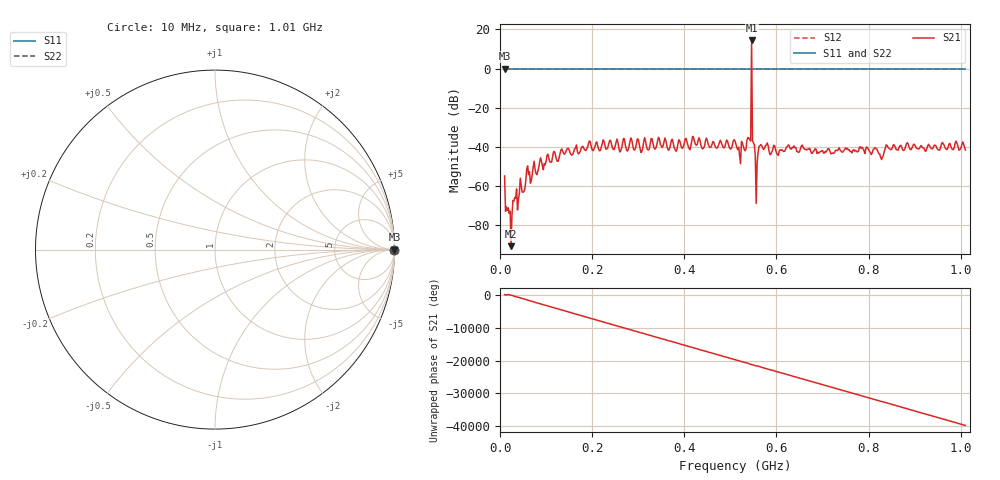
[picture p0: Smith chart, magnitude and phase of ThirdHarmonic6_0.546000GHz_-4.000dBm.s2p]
! 8/15/2025 5:12:42 PM
! C:\ANRITSUVNA\TEMP\TEMP.S2P
! CHANNEL.1
! TR.MEASUREMENT
! RAW.DATA
! RF.CORRECTION.OFF
! AVERAGING.OFF
! IF.BANDWIDTH: 5KHZ
! SWEEPTYPE:  FREQ.SWEEP(Linear)
! Reference Plane Port Info
! PORT:  PORT1  PORT2
! DISTANCE:  0  m  0  m
! TIME:  0  s  0  s
! PHASE.OFFSET:  0  deg.  0  deg.
! LOSS:  0  dB  0  dB
! REF.LOSS:  0  dB  0  dB
! REF.FREQ:  0  Hz  0  Hz
! Power Info
! POWER:  -20  dBm  -20  dBm
! EFF.POWER:  -20  dBm  -20  dBm
! SOURCE.ATTEN:  0  dB  0  dB
! TEST.ATTEN:  0  dB  0  dB
# GHZ S RI R 50.0
! FREQ.GHZ  S11RE  S11IM  S21RE  S21IM  S12RE  S12IM  S22RE  S22IM
!; PortSelection: Port_12
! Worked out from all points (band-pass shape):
!   501 points, 10 MHz to 1.01 GHz, reference 50 ohm
!   highest |S21| = 14.36 dB at 546 MHz (marker M1); lowest = -90.9 dB at 24 MHz (marker M2)
!   |S21| within 3 dB of the highest: 545.8833 MHz to 546.1169 MHz (233.6 kHz wide, 0.0428 % of centre)
!   lowest |S11| = 0.0 dB at 10 MHz (marker M3)
!   |S11| at or under -10 dB: nowhere
!   |S22| runs from 0.0 to 0.0 dB; largest |S21 - S12| = 4.5
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0.01  1 0  -0.00168 0.000625  1 0  1 0
0.016  1 0  -0.000235 -3.32e-05  1 0  1 0
0.024  1 0  2.02e-05 -2.03e-05  1 0  1 0
0.032  1 0  0.000489 -0.000106  1 0  1 0
0.052  1 0  6.1e-06 -0.000724  1 0  1 0
0.06  1 0  -8.46e-05 -0.00323  1 0  1 0
0.178  1 0  -0.0101 0.000344  1 0  1 0
0.344  1 0  0.0132 -0.0114  1 0  1 0
0.51  1 0  -0.00396 0.0135  1 0  1 0
0.518  1 0  -0.00945 0.00232  1 0  1 0
0.54  1 0  0.0163 -0.00358  1 0  1 0
0.542  1 0  -0.00272 -0.015  1 0  1 0
0.546  1 0  4.104 3.232  1 0  1 0
0.55  1 0  0.00266 -0.0124  1 0  1 0
0.552  1 0  -0.0111 -0.00142  1 0  1 0
0.556  1 0  0.000347 7.08e-05  1 0  1 0
0.566  1 0  0.00974 0.00577  1 0  1 0
0.678  1 0  -0.0056 -0.00393  1 0  1 0
0.814  1 0  -0.00881 0.0035  1 0  1 0
0.828  1 0  0.0038 -0.00279  1 0  1 0
0.844  1 0  0.00693 0.00592  1 0  1 0
1.01  1 0  -0.00759 -0.00326  1 0  1 0
